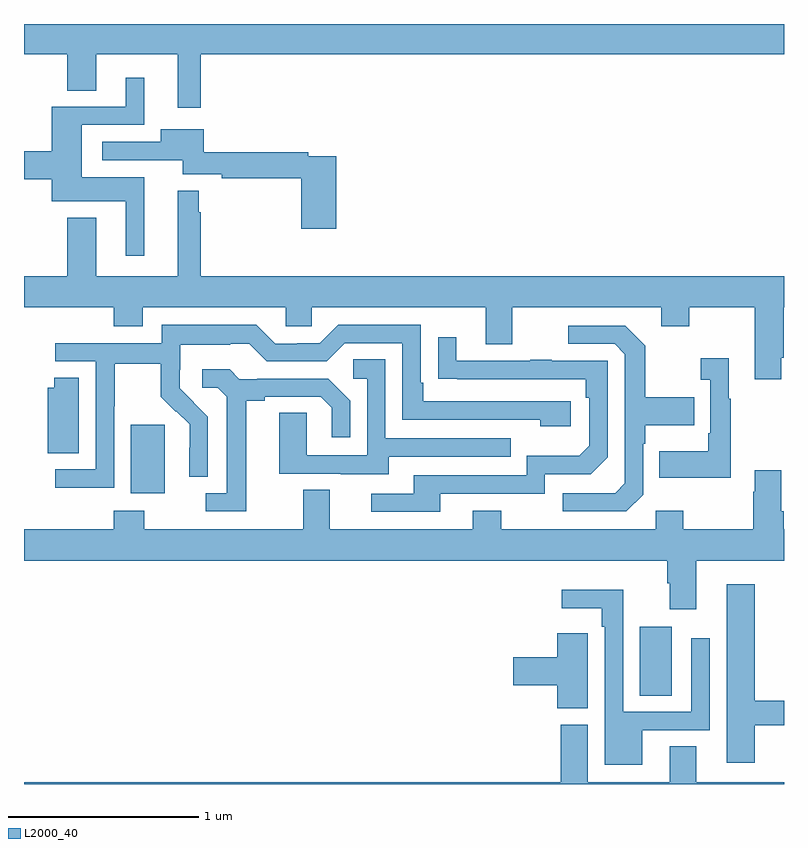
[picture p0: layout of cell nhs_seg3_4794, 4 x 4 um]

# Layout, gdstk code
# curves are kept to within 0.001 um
import gdstk
lib = gdstk.Library(unit=1e-6, precision=1e-09)
def R(c, l, rs):  # rectangles x0, y0, x1, y1
    for r in rs: c.add(gdstk.rectangle(r[:2], r[2:], *l))
def P(c, l, *ps):  # polygons
    for p in ps: c.add(gdstk.Polygon(p, *l))
L2000_40 = (2000, 40)

nhs_seg3_4794 = lib.new_cell('nhs_seg3_4794')
R(nhs_seg3_4794, L2000_40, [(372.242,706.864,372.409,707.227), (369.563,707.93,369.742,708.291)])
P(nhs_seg3_4794, L2000_40, [(369.931,710.24),(373,710.24),(373,710.4),(369,710.4),(369,710.24),(369.227,710.24),(369.227,710.05),(369.379,710.05),(369.379,710.24),(369.809,710.24),(369.809,709.959),(369.931,709.959)],
  [(369.634,709.594),(369.304,709.594),(369.304,709.869),(369.634,709.869),(369.634,710.116),(369.536,710.116),(369.536,709.965),(369.146,709.965),(369.146,709.73),(369,709.73),(369,709.583),(369.146,709.583),(369.146,709.466),(369.536,709.466),(369.536,709.179),(369.634,709.179)],
  [(370.643,709.704),(370.496,709.704),(370.496,709.724),(369.946,709.724),(369.946,709.846),(369.719,709.846),(369.719,709.779),(369.411,709.779),(369.411,709.683),(369.836,709.683),(369.836,709.608),(370.042,709.608),(370.042,709.588),(370.46,709.588),(370.46,709.323),(370.643,709.323)],
  [(369.931,709.409),(369.92,709.409),(369.92,709.522),(369.809,709.522),(369.809,709.072),(369.379,709.072),(369.379,709.381),(369.227,709.381),(369.227,709.072),(369,709.072),(369,708.908),(369.473,708.908),(369.473,708.809),(369.625,708.809),(369.625,708.908),(370.377,708.908),(370.377,708.81),(370.515,708.81),(370.515,708.908),(371.429,708.908),(371.429,708.714),(371.569,708.714),(371.569,708.908),(372.353,708.908),(372.353,708.809),(372.501,708.809),(372.501,708.908),(372.845,708.908),(372.845,708.531),(372.985,708.531),(372.985,708.643),(372.998,708.643),(372.998,708.908),(373,708.908),(373,709.072),(369.931,709.072)],
  [(369.474,708.388),(369.477,708.388),(369.477,708.612),(369.721,708.612),(369.721,708.437),(369.798,708.36),(369.801,708.363),(369.872,708.293),(369.872,708.17),(369.87,708.17),(369.87,708.016),(369.966,708.016),(369.966,708.334),(369.82,708.482),(369.82,708.579),(369.822,708.579),(369.822,708.713),(370.085,708.713),(370.085,708.717),(370.185,708.717),(370.278,708.624),(370.593,708.624),(370.689,708.72),(370.992,708.72),(370.992,708.318),(371.717,708.318),(371.717,708.284),(371.878,708.284),(371.878,708.414),(371.101,708.414),(371.101,708.511),(371.088,708.511),(371.088,708.816),(370.653,708.816),(370.557,708.72),(370.439,708.72),(370.439,708.717),(370.323,708.717),(370.223,708.817),(369.726,708.817),(369.726,708.72),(369.165,708.72),(369.165,708.624),(369.378,708.624),(369.378,708.057),(369.165,708.057),(369.165,707.959),(369.474,707.959)],
  [(372.258,707.922),(372.258,708.191),(372.271,708.191),(372.271,708.287),(372.527,708.287),(372.527,708.435),(372.271,708.435),(372.271,708.707),(372.165,708.813),(371.865,708.813),(371.865,708.717),(372.108,708.717),(372.162,708.663),(372.162,707.982),(372.111,707.931),(371.835,707.931),(371.835,707.835),(372.171,707.835)],
  [(371.191,707.928),(371.742,707.928),(371.742,708.03),(371.982,708.03),(372.072,708.12),(372.072,708.627),(371.777,708.627),(371.777,708.632),(371.665,708.632),(371.665,708.627),(371.275,708.627),(371.275,708.751),(371.179,708.751),(371.179,708.532),(371.956,708.531),(371.956,708.434),(371.976,708.434),(371.976,708.18),(371.923,708.127),(371.646,708.127),(371.646,708.024),(371.051,708.024),(371.051,707.928),(370.827,707.928),(370.827,707.832),(371.191,707.832)],
  [(372.721,708.427),(372.709,708.427),(372.709,708.64),(372.561,708.64),(372.561,708.527),(372.612,708.527),(372.612,708.247),(372.6,708.247),(372.6,708.151),(372.343,708.151),(372.343,708.011),(372.721,708.011)],
  [(370.921,708.123),(371.561,708.123),(371.561,708.219),(370.902,708.219),(370.902,708.635),(370.734,708.635),(370.734,708.534),(370.806,708.534),(370.806,708.129),(370.488,708.129),(370.488,708.353),(370.343,708.353),(370.343,708.033),(370.667,708.033),(370.667,708.029),(370.921,708.029)],
  [(370.171,708.416),(370.267,708.416),(370.267,708.438),(370.562,708.438),(370.619,708.381),(370.619,708.225),(370.716,708.225),(370.716,708.418),(370.6,708.534),(370.228,708.534),(370.228,708.531),(370.134,708.531),(370.082,708.583),(369.939,708.583),(369.939,708.486),(370.02,708.486),(370.067,708.439),(370.067,707.931),(369.957,707.931),(369.957,707.835),(370.171,707.835)],
  [(369.289,708.539),(369.158,708.539),(369.158,708.486),(369.124,708.486),(369.124,708.142),(369.289,708.142)],
  [(372.538,707.576),(373,707.576),(373,707.74),(372.998,707.74),(372.998,707.836),(372.985,707.836),(372.985,708.052),(372.845,708.052),(372.845,707.939),(372.838,707.939),(372.838,707.74),(372.471,707.74),(372.471,707.839),(372.324,707.839),(372.324,707.74),(371.511,707.74),(371.511,707.839),(371.363,707.839),(371.363,707.74),(370.609,707.74),(370.609,707.948),(370.469,707.948),(370.469,707.74),(369.633,707.74),(369.633,707.839),(369.473,707.839),(369.473,707.74),(369,707.74),(369,707.576),(372.386,707.576),(372.386,707.456),(372.398,707.456),(372.398,707.319),(372.538,707.319)],
  [(372.845,706.71),(373,706.71),(373,706.838),(372.845,706.838),(372.845,707.452),(372.698,707.452),(372.698,706.512),(372.845,706.512)],
  [(372.253,706.683),(372.609,706.683),(372.609,707.167),(372.513,707.167),(372.513,706.779),(372.153,706.779),(372.153,707.422),(371.829,707.422),(371.829,707.324),(372.041,707.324),(372.041,707.228),(372.057,707.228),(372.057,706.502),(372.253,706.502)],
  [(371.968,707.081),(371.967,707.081),(371.967,707.194),(371.807,707.194),(371.807,707.066),(371.574,707.066),(371.574,706.919),(371.807,706.919),(371.807,706.798),(371.968,706.798)],
  [(371.825,706.713),(371.825,706.408),(369,706.408),(369,706.4),(373,706.4),(373,706.408),(372.538,706.408),(372.538,706.598),(372.398,706.598),(372.398,706.408),(371.968,706.408),(371.968,706.713)])

lib.write_gds('nhs_seg3_4794.gds')
